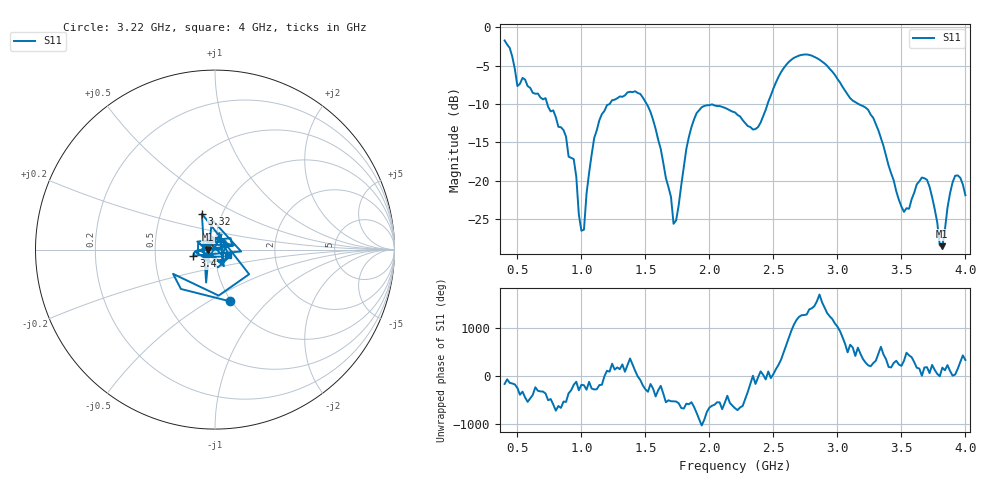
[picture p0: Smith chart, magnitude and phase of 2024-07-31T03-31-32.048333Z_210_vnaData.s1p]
!Created with skrf (http://scikit-rf.org).
# Hz S RI R 50.0
!freq ReS11 ImS11
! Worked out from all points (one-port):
!   181 points, 400 MHz to 4 GHz, reference 50 ohm
!   lowest |S11| = -28.5 dB at 3.82 GHz (marker M1), VSWR 1.08, Z = 46.4 - j0.0196 ohm
!   |S11| at or under -10 dB: 733.7 MHz to 1.22 GHz (486.7 MHz wide, 49.8 % of centre); 1.51 GHz to 2.454 GHz (944.2 MHz wide, 47.6 % of centre); 3.166 GHz to end of sweep
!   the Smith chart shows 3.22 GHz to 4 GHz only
!   S11 on the Smith chart (normalised r, x): 3.22 GHz: 0.99, -0.62; 3.32 GHz: 0.80, +0.34; 3.4 GHz: 0.78, -0.05; 4 GHz: 1.16, -0.07
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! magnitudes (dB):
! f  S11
! 400 MHz  -1.7
! 500 MHz  -7.7
! 720 MHz  -9.2
! 860 MHz  -13.4
! 940 MHz  -17.2
! 980 MHz  -24.4
! 1.02 GHz  -26.4
! 1.1 GHz  -14.4
! 1.3 GHz  -9.0
! 1.52 GHz  -10.3
! 1.62 GHz  -15.9
! 1.72 GHz  -25.6
! 1.76 GHz  -23.2
! 1.82 GHz  -15.8
! 1.9 GHz  -11.2
! 2.2 GHz  -11.1
! 2.38 GHz  -13.0
! 2.66 GHz  -4.0
! 2.86 GHz  -4.2
! 3.1 GHz  -9.2
! 3.22 GHz  -10.5
! 3.32 GHz  -13.4
! 3.4 GHz  -18.0
! 3.56 GHz  -23.6
! 3.7 GHz  -19.9
! 3.82 GHz  -28.5
! 3.92 GHz  -19.3
! 4 GHz  -21.9
